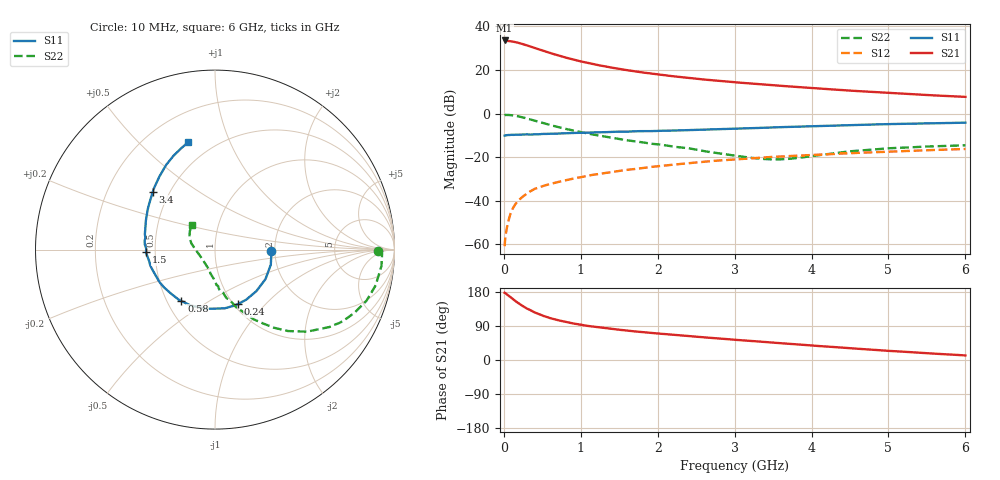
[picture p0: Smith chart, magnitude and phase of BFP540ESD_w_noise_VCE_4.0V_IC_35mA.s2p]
! Infineon Technologies  Discrete & RF Semiconductors
! BFP540ESD
! VCE =  4.0 V,  IC =  35 mA
! Common Emitter S-Parameters:  Nov 2015
# GHz  S  MA  R  50
!  f  S11  S21  S12  S22
! GHz  MAG  ANG  MAG  ANG  MAG  ANG  MAG  ANG
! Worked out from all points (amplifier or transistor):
!   210 points, 10 MHz to 6 GHz, reference 50 ohm
!   highest |S21| = 33.6 dB at 10 MHz (marker M1)
!   |S21| within 3 dB of that: start of sweep to 362.2 MHz
!   unconditionally stable (mu >= 1): start of sweep to 20.93 MHz; 1.809 GHz to end of sweep
!   at 185 MHz: K = 0.34, MSG = 36.3 dB, |S12| = -40.2 dB
!   at 1.52 GHz: K = 0.96, MSG = 23.3 dB, |S12| = -26.3 dB
!   at 6 GHz: K = 1.10, MAG = 10.0 dB, |S12| = -16.3 dB
!   lowest NFmin = 1.52 dB at 900 MHz
!   S11 on the Smith chart (normalised r, x): 10 MHz: 1.90, -0.03; 240 MHz: 1.04, -0.71; 580 MHz: 0.59, -0.38; 1.5 GHz: 0.45, -0.02; 3.4 GHz: 0.41, +0.34; 6 GHz: 0.37, +0.71
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0.01  0.3111 -1.4  47.63 177.4  0.0009 81.3  0.9067 -0.6
0.02  0.3152 -5.7  46.87 176.3  0.0015 58.7  0.9312 -1.3
0.05  0.3221 -15.1  46.65 171.2  0.0028 74.2  0.9318 -5.6
0.1  0.3258 -30.3  45.42 163.2  0.0058 76.3  0.9173 -12.5
0.15  0.3266 -45.0  43.78 155.5  0.0083 76.6  0.891 -18.6
0.2  0.3289 -58.1  41.59 148.3  0.0105 71.8  0.853 -24.4
0.24  0.3293 -67.2  39.62 143.1  0.0121 72.0  0.8214 -28.5
0.3  0.3317 -80.7  36.77 135.8  0.0146 70.9  0.7694 -34.1
0.4  0.3338 -98.6  32.07 125.6  0.0186 67.4  0.6863 -41.8
0.5  0.3397 -113.7  28.08 117.2  0.0214 64.0  0.6098 -48.1
0.58  0.3424 -123.2  25.2 112.1  0.0236 64.2  0.5576 -51.9
0.7  0.3467 -134.9  21.76 105.2  0.0268 64.1  0.4917 -56.9
0.8  0.3538 -143.7  19.34 100.4  0.0291 63.6  0.445 -60.9
1.02  0.3615 -157.4  15.46 92.3  0.0351 63.4  0.3669 -67.0
1.2  0.3714 -166.1  13.19 87.0  0.0401 62.2  0.3199 -71.5
1.5  0.3842 -177.7  10.55 79.8  0.048 61.1  0.2608 -78.0
2.02  0.4009 166.9  7.823 69.6  0.062 57.8  0.195 -87.8
3.1  0.4531 142.9  5.062 52.0  0.0906 49.0  0.1021 -117.2
3.4  0.4732 137.0  4.6 47.4  0.0984 46.2  0.0899 -135.7
4.1  0.5182 125.6  3.747 36.8  0.1138 39.8  0.1107 178.4
5.1  0.5762 112.7  2.913 23.0  0.135 30.5  0.1618 151.6
6  0.6163 104.0  2.412 12.0  0.1535 23.3  0.1868 133.0
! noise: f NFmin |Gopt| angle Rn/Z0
0.9  1.52  0.41  -139  0.13
1.8  1.66  0.44  -142  0.13
2.4  1.7  0.44  -132  0.15
3  1.82  0.46  -125  0.19
4  1.87  0.55  -103  0.33
5  2.01  0.6  -88  0.51
6  2.34  0.59  -85  0.77
